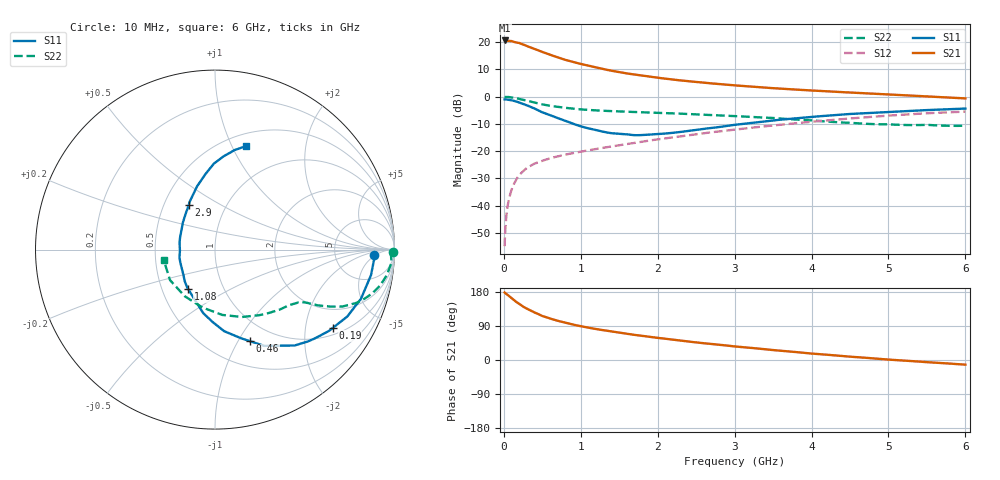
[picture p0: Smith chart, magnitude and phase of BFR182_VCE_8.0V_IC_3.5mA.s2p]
! Infineon Technologies  Discrete & RF Semiconductors
! BFR182
! VCE =  8.0 V,  IC =  3.5 mA
! Common Emitter S-Parameters:  Nov 2015
# GHz  S  MA  R  50
!  f  S11  S21  S12  S22
! GHz  MAG  ANG  MAG  ANG  MAG  ANG  MAG  ANG
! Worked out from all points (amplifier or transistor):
!   210 points, 10 MHz to 6 GHz, reference 50 ohm
!   highest |S21| = 20.6 dB at 10 MHz (marker M1)
!   |S21| within 3 dB of that: start of sweep to 391.9 MHz
!   unconditionally stable (mu >= 1): 1.272 GHz to 3.059 GHz
!   at 185 MHz: K = 0.26, MSG = 24.6 dB, |S12| = -29.4 dB
!   at 1.52 GHz: K = 1.04, MAG = 12.1 dB, |S12| = -17.8 dB
!   at 6 GHz: K = 0.88, MSG = 2.4 dB, |S12| = -5.5 dB
!   S11 on the Smith chart (normalised r, x): 10 MHz: 15, -4; 190 MHz: 1.22, -2.82; 460 MHz: 0.77, -1.13; 1.08 GHz: 0.68, -0.32; 2.9 GHz: 0.67, +0.36; 6 GHz: 0.63, +1.14
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0.01  0.8864 -1.9  10.7 178.1  0.0018 93.4  0.992 -0.9
0.02  0.8882 -3.5  10.44 176.3  0.0038 89.1  0.981 -1.7
0.04  0.8822 -7.4  10.52 173.2  0.0079 84.9  0.9839 -3.4
0.1  0.8583 -18.6  10.42 163.5  0.0194 80.0  0.9674 -8.6
0.19  0.7878 -33.7  9.659 149.3  0.0346 72.0  0.9142 -15.0
0.24  0.7438 -41.8  9.176 142.3  0.0413 67.8  0.8793 -18.0
0.3  0.6944 -50.3  8.443 135.2  0.0491 65.3  0.8392 -20.8
0.4  0.6025 -62.9  7.51 125.3  0.0589 60.9  0.777 -24.1
0.46  0.5472 -69.0  6.935 120.1  0.0633 59.5  0.7421 -25.3
0.5  0.5143 -73.7  6.588 116.1  0.0663 58.6  0.7191 -26.2
0.6  0.4573 -83.6  5.854 109.4  0.0737 57.1  0.6769 -27.6
0.7  0.403 -92.0  5.241 103.4  0.0801 56.5  0.647 -28.6
0.9  0.3173 -108.2  4.31 93.2  0.092 56.1  0.6 -29.8
1.02  0.2793 -118.8  3.912 88.3  0.0984 56.6  0.5789 -30.5
1.08  0.2652 -124.5  3.741 86.0  0.1022 57.0  0.5706 -31.0
1.6  0.2028 -167.5  2.654 69.1  0.1348 58.4  0.528 -35.2
2.02  0.2061 160.8  2.2 58.0  0.1655 58.8  0.5017 -40.1
2.9  0.2892 120.3  1.652 38.1  0.2387 55.7  0.4468 -54.2
3.1  0.3144 114.9  1.567 34.1  0.2567 54.4  0.4318 -58.3
4.1  0.4347 95.8  1.27 15.5  0.3548 45.9  0.3562 -87.0
5.1  0.5297 83.5  1.079 -0.2  0.4562 34.1  0.3045 -127.3
6  0.6025 73.2  0.925 -12.3  0.5304 21.0  0.2915 -168.2
